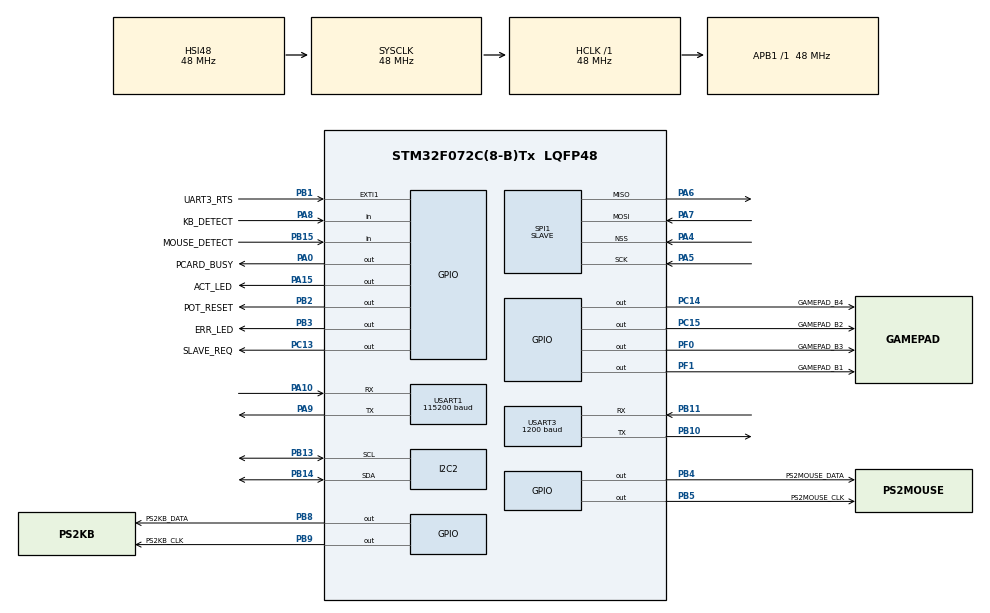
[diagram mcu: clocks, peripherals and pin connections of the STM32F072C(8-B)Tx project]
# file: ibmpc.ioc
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I2C2.Timing=0x20303E5D
IWDG.Prescaler=IWDG_PRESCALER_32
Mcu.Family=STM32F0
Mcu.Name=STM32F072C(8-B)Tx
Mcu.Package=LQFP48
NVIC.EXTI0_1_IRQn=true\:2\:0\:true\:false\:true\:true\:true
NVIC.SPI1_IRQn=true\:0\:0\:false\:false\:true\:true\:true
NVIC.USART3_4_IRQn=true\:1\:0\:true\:false\:true\:true\:true
PA0.GPIO_Label=PCARD_BUSY
PA0.Signal=GPIO_Output
PA10.Mode=Asynchronous
PA10.Signal=USART1_RX
PA13.Mode=Serial_Wire
PA13.Signal=SYS_SWDIO
PA14.Mode=Serial_Wire
PA14.Signal=SYS_SWCLK
PA15.GPIO_Label=ACT_LED
PA15.Signal=GPIO_Output
PA4.Mode=NSS_Signal_Hard_Input
PA4.Signal=SPI1_NSS
PA5.Mode=Full_Duplex_Slave
PA5.Signal=SPI1_SCK
PA6.Mode=Full_Duplex_Slave
PA6.Signal=SPI1_MISO
PA7.Mode=Full_Duplex_Slave
PA7.Signal=SPI1_MOSI
PA8.GPIO_Label=KB_DETECT
PA8.GPIO_PuPd=GPIO_PULLDOWN
PA8.Signal=GPIO_Input
PA9.Mode=Asynchronous
PA9.Signal=USART1_TX
PB1.GPIO_Label=UART3_RTS
PB1.GPIO_ModeDefaultEXTI=GPIO_MODE_IT_FALLING
PB1.Signal=GPXTI1
PB10.Mode=Asynchronous
PB10.Signal=USART3_TX
PB11.Mode=Asynchronous
PB11.Signal=USART3_RX
PB13.GPIO_PuPdOD=GPIO_NOPULL
PB13.Mode=I2C
PB13.Signal=I2C2_SCL
PB14.GPIO_PuPdOD=GPIO_NOPULL
PB14.Mode=I2C
PB14.Signal=I2C2_SDA
PB15.GPIO_Label=MOUSE_DETECT
PB15.GPIO_PuPd=GPIO_PULLDOWN
PB15.Signal=GPIO_Input
PB2.GPIO_Label=POT_RESET
PB2.GPIO_ModeDefaultOutputPP=GPIO_MODE_OUTPUT_OD
PB2.PinState=GPIO_PIN_SET
PB2.Signal=GPIO_Output
PB3.GPIO_Label=ERR_LED
PB3.Signal=GPIO_Output
PB4.GPIO_Label=PS2MOUSE_DATA
PB4.GPIO_ModeDefaultOutputPP=GPIO_MODE_OUTPUT_OD
PB4.PinState=GPIO_PIN_SET
PB4.Signal=GPIO_Output
PB5.GPIO_Label=PS2MOUSE_CLK
PB5.GPIO_ModeDefaultOutputPP=GPIO_MODE_OUTPUT_OD
PB5.PinState=GPIO_PIN_SET
PB5.Signal=GPIO_Output
PB8.GPIO_Label=PS2KB_DATA
PB8.GPIO_ModeDefaultOutputPP=GPIO_MODE_OUTPUT_OD
PB8.PinState=GPIO_PIN_SET
PB8.Signal=GPIO_Output
PB9.GPIO_Label=PS2KB_CLK
PB9.GPIO_ModeDefaultOutputPP=GPIO_MODE_OUTPUT_OD
PB9.PinState=GPIO_PIN_SET
PB9.Signal=GPIO_Output
PC13.GPIO_Label=SLAVE_REQ
PC13.PinState=GPIO_PIN_RESET
PC13.Signal=GPIO_Output
PC14-OSC32_IN.GPIO_Label=GAMEPAD_B4
PC14-OSC32_IN.GPIO_ModeDefaultOutputPP=GPIO_MODE_OUTPUT_OD
PC14-OSC32_IN.PinState=GPIO_PIN_SET
PC14-OSC32_IN.Signal=GPIO_Output
PC15-OSC32_OUT.GPIO_Label=GAMEPAD_B2
PC15-OSC32_OUT.GPIO_ModeDefaultOutputPP=GPIO_MODE_OUTPUT_OD
PC15-OSC32_OUT.PinState=GPIO_PIN_SET
PC15-OSC32_OUT.Signal=GPIO_Output
PF0-OSC_IN.GPIO_Label=GAMEPAD_B3
PF0-OSC_IN.GPIO_ModeDefaultOutputPP=GPIO_MODE_OUTPUT_OD
PF0-OSC_IN.PinState=GPIO_PIN_SET
PF0-OSC_IN.Signal=GPIO_Output
PF1-OSC_OUT.GPIO_Label=GAMEPAD_B1
PF1-OSC_OUT.GPIO_ModeDefaultOutputPP=GPIO_MODE_OUTPUT_OD
PF1-OSC_OUT.PinState=GPIO_PIN_SET
PF1-OSC_OUT.Signal=GPIO_Output
ProjectManager.HeapSize=0x200
ProjectManager.StackSize=0x400
ProjectManager.TargetToolchain=MDK-ARM V5
RCC.AHBFreq_Value=48000000
RCC.APB1Freq_Value=48000000
RCC.APB1TimFreq_Value=48000000
RCC.HCLKFreq_Value=48000000
RCC.I2c1ClockSelection=RCC_I2C1CLKSOURCE_SYSCLK
RCC.SYSCLKFreq_VALUE=48000000
RCC.SYSCLKSource=RCC_SYSCLKSOURCE_HSI48
RCC.Usart1ClockSelection=RCC_USART1CLKSOURCE_SYSCLK
SPI1.DataSize=SPI_DATASIZE_8BIT
SPI1.Direction=SPI_DIRECTION_2LINES
SPI1.Mode=SPI_MODE_SLAVE
SPI1.VirtualNSS=VM_NSSHARD
SPI1.VirtualType=VM_SLAVE
TIM2.Period=4294967295
TIM2.Prescaler=47
USART1.BaudRate=115200
USART1.VirtualMode-Asynchronous=VM_ASYNC
USART3.BaudRate=1200
USART3.DMADisableonRxErrorParam=UART_ADVFEATURE_DMA_DISABLEONRXERROR
USART3.OverrunDisableParam=UART_ADVFEATURE_OVERRUN_DISABLE
USART3.VirtualMode-Asynchronous=VM_ASYNC
USART3.WordLength=WORDLENGTH_7B
VP_IWDG_VS_IWDG.Mode=IWDG_Activate
VP_TIM2_VS_ClockSourceINT.Mode=Internal
board=custom

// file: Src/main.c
/**
  ******************************************************************************
  * @file           : main.c
  * @brief          : Main program body
  ******************************************************************************
  ** This notice applies to any and all portions of this file
  * that are not between comment pairs USER CODE BEGIN and
  * USER CODE END. Other portions of this file, whether
  * inserted by the user or by software development tools
  * are owned by their respective copyright owners.
  *
  * COPYRIGHT(c) 2023 STMicroelectronics
  *
  * Redistribution and use in source and binary forms, with or without modification,
  * are permitted provided that the following conditions are met:
  *   1. Redistributions of source code must retain the above copyright notice,
  *      this list of conditions and the following disclaimer.
  *   2. Redistributions in binary form must reproduce the above copyright notice,
  *      this list of conditions and the following disclaimer in the documentation
  *      and/or other materials provided with the distribution.
  *   3. Neither the name of STMicroelectronics nor the names of its contributors
  *      may be used to endorse or promote products derived from this software
  *      without specific prior written permission.
  *
  * THIS SOFTWARE IS PROVIDED BY THE COPYRIGHT HOLDERS AND CONTRIBUTORS "AS IS"
  * AND ANY EXPRESS OR IMPLIED WARRANTIES, INCLUDING, BUT NOT LIMITED TO, THE
  * IMPLIED WARRANTIES OF MERCHANTABILITY AND FITNESS FOR A PARTICULAR PURPOSE ARE
  * DISCLAIMED. IN NO EVENT SHALL THE COPYRIGHT HOLDER OR CONTRIBUTORS BE LIABLE
  * FOR ANY DIRECT, INDIRECT, INCIDENTAL, SPECIAL, EXEMPLARY, OR CONSEQUENTIAL
  * DAMAGES (INCLUDING, BUT NOT LIMITED TO, PROCUREMENT OF SUBSTITUTE GOODS OR
  * SERVICES; LOSS OF USE, DATA, OR PROFITS; OR BUSINESS INTERRUPTION) HOWEVER
  * CAUSED AND ON ANY THEORY OF LIABILITY, WHETHER IN CONTRACT, STRICT LIABILITY,
  * OR TORT (INCLUDING NEGLIGENCE OR OTHERWISE) ARISING IN ANY WAY OUT OF THE USE
  * OF THIS SOFTWARE, EVEN IF ADVISED OF THE POSSIBILITY OF SUCH DAMAGE.
  *
  ******************************************************************************
  */
#include "main.h"
#include "stm32f0xx_hal.h"

/* USER CODE BEGIN Includes */
#include "delay_us.h"
#include "shared.h"
#include "helpers.h"
#include "ps2kb.h"
#include <string.h>
#include "ps2mouse.h"
#include "mcp4451.h"
#include "xt_kb.h"

/* USER CODE END Includes */

I2C_HandleTypeDef hi2c2;

IWDG_HandleTypeDef hiwdg;

SPI_HandleTypeDef hspi1;

TIM_HandleTypeDef htim2;

UART_HandleTypeDef huart1;
UART_HandleTypeDef huart3;

/* USER CODE BEGIN PV */
/* Private variables ---------------------------------------------------------*/

/*
0.5.6
2023 04 30
Capped PS/2 mouse rate at 200Hz

0.5.7
2023 05 01
fixed a baud rate bug

*/
const uint8_t board_id = 1;
const uint8_t version_major = 0;
const uint8_t version_minor = 5;
const uint8_t version_patch = 7;
uint8_t hw_revision;

uint8_t spi_transmit_buf[SPI_BUF_SIZE];
uint8_t backup_spi1_recv_buf[SPI_BUF_SIZE];
uint8_t spi_recv_buf[SPI_BUF_SIZE];
kb_buf my_kb_buf;
mouse_buf my_mouse_buf;
gamepad_buf my_gamepad_buf;
uint16_t flash_size;

uint8_t ps2kb_host_cmd, ps2mouse_host_cmd, buffered_code, buffered_value, ps2mouse_bus_status, ps2kb_bus_status;
mouse_event latest_mouse_event;
mouse_event consolidated_mouse_event;
gamepad_event latest_gamepad_event;
ps2_outgoing_buf my_ps2_outbuf;
#define MICROSOFT_SERIAL_MOUSE_BUF_SIZE 3
uint8_t microsoft_serial_mouse_output_buf[MICROSOFT_SERIAL_MOUSE_BUF_SIZE];
#define MOUSESYSTEMS_SERIAL_MOUSE_BUF_SIZE 5
uint8_t mousesystems_serial_mouse_output_buf[MOUSESYSTEMS_SERIAL_MOUSE_BUF_SIZE];

uint8_t serial_mouse_rts_response;
volatile uint8_t rts_active;
uint8_t spi_error_occured;

#define PROTOCOL_STATUS_NOT_AVAILABLE 0
#define PROTOCOL_STATUS_ENABLED 1
#define PROTOCOL_STATUS_DISABLED 2

#define PROTOCOL_LOOKUP_SIZE 16
uint8_t protocol_status_lookup[PROTOCOL_LOOKUP_SIZE];

#define IS_KB_PRESENT() HAL_GPIO_ReadPin(KB_DETECT_GPIO_Port, KB_DETECT_Pin)
#define IS_PS2MOUSE_PRESENT() HAL_GPIO_ReadPin(MOUSE_DETECT_GPIO_Port, MOUSE_DETECT_Pin)

/* USER CODE END PV */

void SystemClock_Config(void);
static void MX_GPIO_Init(void);
static void MX_I2C2_Init(void);
static void MX_SPI1_Init(void);
static void MX_TIM2_Init(void);
static void MX_USART1_UART_Init(void);
static void MX_USART3_UART_Init(void);
static void MX_IWDG_Init(void);

/* USER CODE BEGIN PFP */
/* Private function prototypes -----------------------------------------------*/

/* USER CODE END PFP */

/* USER CODE BEGIN 0 */

void mouse_uart_switch_to_8bit(void)
{
  huart3.Init.WordLength = UART_WORDLENGTH_8B;
  HAL_UART_Init(&huart3);
}

void mouse_uart_switch_to_7bit(void)
{
  huart3.Init.WordLength = UART_WORDLENGTH_7B;
  HAL_UART_Init(&huart3);
}

int fputc(int ch, FILE *f)
{
  HAL_UART_Transmit(&huart1, (unsigned char *)&ch, 1, 100);
  return ch;
}

int16_t byte_to_int16_t(uint8_t lsb, uint8_t msb)
{
  return (int16_t)((msb << 8) | lsb);
}

uint8_t is_protocol_enabled(uint8_t this_protocol)
{
  if(this_protocol >= PROTOCOL_LOOKUP_SIZE)
    return 0;
  return protocol_status_lookup[this_protocol] == PROTOCOL_STATUS_ENABLED;
}

void gameport_init()
{
  // release all buttons, reset digital pot
  HAL_GPIO_WritePin(GAMEPAD_B1_GPIO_Port, GAMEPAD_B1_Pin, GPIO_PIN_SET);
  HAL_GPIO_WritePin(GAMEPAD_B2_GPIO_Port, GAMEPAD_B2_Pin, GPIO_PIN_SET);
  HAL_GPIO_WritePin(GAMEPAD_B3_GPIO_Port, GAMEPAD_B3_Pin, GPIO_PIN_SET);
  HAL_GPIO_WritePin(GAMEPAD_B4_GPIO_Port, GAMEPAD_B4_Pin, GPIO_PIN_SET);
  mcp4451_reset();
}

void handle_protocol_switch(uint8_t spi_byte)
{
  uint8_t index = spi_byte & 0x7f;
  uint8_t onoff = spi_byte & 0x80;

  if(index >= PROTOCOL_LOOKUP_SIZE)
    return;
  // trying to change a protocol that is not available on this board
  if(protocol_status_lookup[index] == PROTOCOL_STATUS_NOT_AVAILABLE)
    return;
  // switching protocol ON
  if(onoff && protocol_status_lookup[index] == PROTOCOL_STATUS_DISABLED)
  {
    switch(index)
    {
      case PROTOCOL_AT_PS2_KB:
        ps2kb_init(PS2KB_CLK_GPIO_Port, PS2KB_CLK_Pin, PS2KB_DATA_GPIO_Port, PS2KB_DATA_Pin);
        break;

      case PROTOCOL_XT_KB:
        xtkb_enable();
        break;

      case PROTOCOL_PS2_MOUSE:
        ps2mouse_init(PS2MOUSE_CLK_GPIO_Port, PS2MOUSE_CLK_Pin, PS2MOUSE_DATA_GPIO_Port, PS2MOUSE_DATA_Pin);
        break;

      case PROTOCOL_MICROSOFT_SERIAL_MOUSE:
        mouse_uart_switch_to_7bit();
        break;

      case PROTOCOL_MOUSESYSTEMS_SERIAL_MOUSE:
        mouse_uart_switch_to_8bit();
        break;

      case PROTOCOL_GENERIC_GAMEPORT_GAMEPAD:
        gameport_init();
        break;
    }
    protocol_status_lookup[index] = PROTOCOL_STATUS_ENABLED;
  }
  // switching protocol OFF
  else if((onoff == 0) && protocol_status_lookup[index] == PROTOCOL_STATUS_ENABLED)
  {
    protocol_status_lookup[index] = PROTOCOL_STATUS_DISABLED;
    switch(index)
    {
      case PROTOCOL_AT_PS2_KB:
        ps2kb_release_lines();
        ps2kb_reset();
        break;

      case PROTOCOL_XT_KB:
        xtkb_release_lines();
        break;

      case PROTOCOL_PS2_MOUSE:
        ps2mouse_reset();
        ps2mouse_release_lines();
        break;

      case PROTOCOL_MICROSOFT_SERIAL_MOUSE:
        break;

      case PROTOCOL_MOUSESYSTEMS_SERIAL_MOUSE:
        break;

      case PROTOCOL_GENERIC_GAMEPORT_GAMEPAD:
        gameport_init();
        break;
    }
  }
}

/*
  This is called when a new SPI packet is received
  This is part of an ISR, so keep it short!
*/
uint32_t ACT_LED_off_ts;
void HAL_SPI_TxRxCpltCallback(SPI_HandleTypeDef *hspi)
{
  HAL_GPIO_WritePin(ACT_LED_GPIO_Port, ACT_LED_Pin, GPIO_PIN_SET);
  memcpy(backup_spi1_recv_buf, spi_recv_buf, SPI_BUF_SIZE);

  if(backup_spi1_recv_buf[0] != 0xde)
  {
    spi_error_occured = 1;
  }
  else if(backup_spi1_recv_buf[SPI_BUF_INDEX_MSG_TYPE] == SPI_MOSI_MSG_TYPE_KEYBOARD_EVENT)
  {
    kb_buf_add(&my_kb_buf, backup_spi1_recv_buf[4], backup_spi1_recv_buf[6]);
  }
  else if(backup_spi1_recv_buf[SPI_BUF_INDEX_MSG_TYPE] == SPI_MOSI_MSG_TYPE_MOUSE_EVENT)
  {
    latest_mouse_event.movement_x = byte_to_int16_t(backup_spi1_recv_buf[4], backup_spi1_recv_buf[5]);
    latest_mouse_event.movement_y = -1 * byte_to_int16_t(backup_spi1_recv_buf[6], backup_spi1_recv_buf[7]);
    latest_mouse_event.scroll_vertical = -1 * backup_spi1_recv_buf[8];
    latest_mouse_event.scroll_horizontal = backup_spi1_recv_buf[9];
    latest_mouse_event.button_left = backup_spi1_recv_buf[13];
    latest_mouse_event.button_right = backup_spi1_recv_buf[14];
    latest_mouse_event.button_middle = backup_spi1_recv_buf[15];
    latest_mouse_event.button_side = backup_spi1_recv_buf[16];
    latest_mouse_event.button_extra = backup_spi1_recv_buf[17];
    mouse_buf_add(&my_mouse_buf, &latest_mouse_event);
  }
  else if(backup_spi1_recv_buf[SPI_BUF_INDEX_MSG_TYPE] == SPI_MOSI_MSG_TYPE_GAMEPAD_EVENT_MAPPED_IBMPC)
  {
    latest_gamepad_event.button_1 = backup_spi1_recv_buf[4];
    latest_gamepad_event.button_2 = backup_spi1_recv_buf[5];
    latest_gamepad_event.button_3 = backup_spi1_recv_buf[6];
    latest_gamepad_event.button_4 = backup_spi1_recv_buf[7];
    latest_gamepad_event.button_lt = 0;
    latest_gamepad_event.button_rt = 0;
    latest_gamepad_event.button_lt2 = 0;
    latest_gamepad_event.button_rt2 = 0;
    latest_gamepad_event.axis_x = backup_spi1_recv_buf[8];
    latest_gamepad_event.axis_y = backup_spi1_recv_buf[9];
    latest_gamepad_event.axis_rx = backup_spi1_recv_buf[10];
    latest_gamepad_event.axis_ry = backup_spi1_recv_buf[11];
    gamepad_buf_add(&my_gamepad_buf, &latest_gamepad_event);
  }
  else if(backup_spi1_recv_buf[SPI_BUF_INDEX_MSG_TYPE] == SPI_MOSI_MSG_TYPE_REQ_ACK)
  {
    HAL_GPIO_WritePin(SLAVE_REQ_GPIO_Port, SLAVE_REQ_Pin, GPIO_PIN_RESET);
  }
  else if(backup_spi1_recv_buf[SPI_BUF_INDEX_MSG_TYPE] == SPI_MOSI_MSG_TYPE_INFO_REQUEST)
  {
    memset(spi_transmit_buf, 0, SPI_BUF_SIZE);
    spi_transmit_buf[SPI_BUF_INDEX_MAGIC] = SPI_MISO_MAGIC;
    spi_transmit_buf[SPI_BUF_INDEX_SEQNUM] = backup_spi1_recv_buf[SPI_BUF_INDEX_SEQNUM];
    spi_transmit_buf[SPI_BUF_INDEX_MSG_TYPE] = SPI_MISO_MSG_TYPE_INFO_REQUEST;
    spi_transmit_buf[3] = board_id;
    spi_transmit_buf[4] = hw_revision;
    spi_transmit_buf[5] = version_major;
    spi_transmit_buf[6] = version_minor;
    spi_transmit_buf[7] = version_patch;
    uint8_t curr_index = 8;
    for (int i = 0; i < PROTOCOL_LOOKUP_SIZE; i++)
    {
      if(protocol_status_lookup[i] == PROTOCOL_STATUS_NOT_AVAILABLE)
        continue;
      else if(protocol_status_lookup[i] == PROTOCOL_STATUS_DISABLED)
        spi_transmit_buf[curr_index] = i;
      else if(protocol_status_lookup[i] == PROTOCOL_STATUS_ENABLED)
        spi_transmit_buf[curr_index] = i | 0x80;
      curr_index++;
    }
  }
  else if(backup_spi1_recv_buf[SPI_BUF_INDEX_MSG_TYPE] == SPI_MOSI_MSG_TYPE_SET_PROTOCOL)
  {
    for (int i = 3; i < SPI_BUF_SIZE; ++i)
    {
      if(backup_spi1_recv_buf[i] == 0)
        break;
      handle_protocol_switch(backup_spi1_recv_buf[i]);
    }
  }
  HAL_SPI_TransmitReceive_IT(&hspi1, spi_transmit_buf, spi_recv_buf, SPI_BUF_SIZE);
  ACT_LED_off_ts = micros() + 10000;
}

void cap_to_127(int32_t *number)
{
  if(*number > 127)
    *number = 127;
  if(*number < -127)
    *number = -127;
}

void get_consolidated_mouse_event(mouse_buf* mbuf, mouse_event* cme_result)
{
  cme_result->movement_x = 0;
  cme_result->movement_y = 0;
  cme_result->scroll_vertical = 0;
  cme_result->scroll_horizontal = 0;
  cme_result->button_left = 0;
  cme_result->button_right = 0;
  cme_result->button_middle = 0;
  cme_result->button_side = 0;
  cme_result->button_extra = 0;
  while(1)
  {
    mouse_event* this_mouse_event = mouse_buf_peek(mbuf);
    if(this_mouse_event == NULL)
      break;
    cme_result->movement_x += this_mouse_event->movement_x;
    cme_result->movement_y += this_mouse_event->movement_y;
    cme_result->scroll_vertical += this_mouse_event->scroll_vertical;
    cme_result->scroll_horizontal += this_mouse_event->scroll_horizontal;
    cme_result->button_left |= this_mouse_event->button_left;
    cme_result->button_right |= this_mouse_event->button_right;
    cme_result->button_middle |= this_mouse_event->button_middle;
    cme_result->button_side |= this_mouse_event->button_side;
    cme_result->button_extra |= this_mouse_event->button_extra;
    mouse_buf_pop(mbuf);
  }
  cap_to_127(&cme_result->movement_x);
  cap_to_127(&cme_result->movement_y);
}

uint32_t last_mouse_movement;
void ps2mouse_update(void)
{
  ps2mouse_bus_status = ps2mouse_get_bus_status();
  if(ps2mouse_bus_status == PS2_BUS_INHIBIT)
  {
    ps2mouse_release_lines();
    return;
  }
  else if(ps2mouse_bus_status == PS2_BUS_REQ_TO_SEND)
  {
    PCARD_BUSY_HI();
    ps2mouse_read(&ps2mouse_host_cmd, 10);
    ps2mouse_host_req_reply(ps2mouse_host_cmd, &latest_mouse_event);
    PCARD_BUSY_LOW();
    return;
  }

  // 5ms, PS/2 tops out at 200Hz
  if(micros() - last_mouse_movement <= 5000)
    return;

  if(mouse_buf_peek(&my_mouse_buf) == NULL)
    return;

  get_consolidated_mouse_event(&my_mouse_buf, &consolidated_mouse_event);
  // mouse buffer now empty

  if(ps2mouse_get_outgoing_data(&consolidated_mouse_event, &my_ps2_outbuf))
    return; // if return value is not 0, no need to send out packets

  PCARD_BUSY_HI();
  if(ps2mouse_send_update(&my_ps2_outbuf) != PS2_OK)
  {
    uint32_t enter_time = HAL_GetTick();
    while(ps2mouse_get_bus_status() != PS2_BUS_IDLE)
    {
      if(HAL_GetTick() - enter_time > PS2MOUSE_WRITE_DEFAULT_TIMEOUT_MS)
        break;
    }
  }
  last_mouse_movement = micros();
  PCARD_BUSY_LOW();
}

uint8_t ps2kb_update(void)
{
  ps2kb_bus_status = ps2kb_get_bus_status();
  if(ps2kb_bus_status == PS2_BUS_INHIBIT)
  {
    ps2kb_release_lines();
    return 0;
  }
  if(ps2kb_bus_status == PS2_BUS_REQ_TO_SEND)
  {
    PCARD_BUSY_HI();
    uint8_t ps2kb_leds = 0xff;
    ps2kb_read(&ps2kb_host_cmd, 10);
    keyboard_reply(ps2kb_host_cmd, &ps2kb_leds);
    if(ps2kb_leds != 0xff)
    {
      memset(spi_transmit_buf, 0, SPI_BUF_SIZE);
      spi_transmit_buf[SPI_BUF_INDEX_MAGIC] = SPI_MISO_MAGIC;
      spi_transmit_buf[SPI_BUF_INDEX_SEQNUM] = backup_spi1_recv_buf[SPI_BUF_INDEX_SEQNUM];
      spi_transmit_buf[SPI_BUF_INDEX_MSG_TYPE] = SPI_MISO_MSG_TYPE_KB_LED_REQUEST;
      if(ps2kb_leds & 0x1) // scroll lock LED
        spi_transmit_buf[3] = 1;
      if(ps2kb_leds & 0x2)  // num lock LED
        spi_transmit_buf[4] = 1;
      if(ps2kb_leds & 0x4)  // caps lock LED
        spi_transmit_buf[5] = 1;
      HAL_GPIO_WritePin(SLAVE_REQ_GPIO_Port, SLAVE_REQ_Pin, GPIO_PIN_SET);
    }
  }
  else if(ps2kb_bus_status == PS2_BUS_IDLE && (kb_buf_peek(&my_kb_buf, &buffered_code, &buffered_value) == 0))
  {
    PCARD_BUSY_HI();
    if(ps2kb_press_key(buffered_code, buffered_value) == PS2_ERROR_HOST_INHIBIT) // host inhibited line during transmission
      HAL_Delay(1);
    else
      kb_buf_pop(&my_kb_buf);
  }
  return 1;
}

// GPIO external interrupt callback
void HAL_GPIO_EXTI_Callback(uint16_t GPIO_Pin)
{
  if(GPIO_Pin == UART3_RTS_Pin && is_protocol_enabled(PROTOCOL_MICROSOFT_SERIAL_MOUSE))
    rts_active = 1;
}

uint8_t serial_mouse_is_tx_in_progress;
void HAL_UART_TxCpltCallback(UART_HandleTypeDef *huart)
{
  serial_mouse_is_tx_in_progress = 0;
}

// https://everything2.com/title/Mouse+protocol
void microsoft_serial_mouse_update(void)
{
  if(rts_active)
  {
    serial_mouse_rts_response = 0x4d; // 0x4d = 'M'
    HAL_UART_Transmit_IT(&huart3, &serial_mouse_rts_response, 1);
    serial_mouse_is_tx_in_progress = 1;
    rts_active = 0;
  }

  if(mouse_buf_peek(&my_mouse_buf) == NULL)
    return;

  if(serial_mouse_is_tx_in_progress)
    return;

  get_consolidated_mouse_event(&my_mouse_buf, &consolidated_mouse_event);
  // mouse buffer now empty

  memset(microsoft_serial_mouse_output_buf, 0, MICROSOFT_SERIAL_MOUSE_BUF_SIZE);
  microsoft_serial_mouse_output_buf[0] = 0xc0;
  if(consolidated_mouse_event.button_left)
    microsoft_serial_mouse_output_buf[0] |= 0x20;
  if(consolidated_mouse_event.button_right)
    microsoft_serial_mouse_output_buf[0] |= 0x10;

  int16_t serial_x = consolidated_mouse_event.movement_x;
  int16_t serial_y = -1* consolidated_mouse_event.movement_y;

  if(serial_y & 0x80)
    microsoft_serial_mouse_output_buf[0] |= 0x8;
  if(serial_y & 0x40)
    microsoft_serial_mouse_output_buf[0] |= 0x4;
  if(serial_x & 0x80)
    microsoft_serial_mouse_output_buf[0] |= 0x2;
  if(serial_x & 0x40)
    microsoft_serial_mouse_output_buf[0] |= 0x1;

  microsoft_serial_mouse_output_buf[1] = 0x3f & serial_x;
  microsoft_serial_mouse_output_buf[2] = 0x3f & serial_y;
  HAL_UART_Transmit_IT(&huart3, microsoft_serial_mouse_output_buf, MICROSOFT_SERIAL_MOUSE_BUF_SIZE);
  serial_mouse_is_tx_in_progress = 1;
}

void spi_error_dump_reboot(void)
{
  printf("SPI ERROR\n");
  for (int i = 0; i < SPI_BUF_SIZE; ++i)
    printf("%d ", backup_spi1_recv_buf[i]);
  printf("\nrebooting...\n");
  for (int i = 0; i < 100; ++i)
  {
    HAL_GPIO_TogglePin(ERR_LED_GPIO_Port, ERR_LED_Pin);
    HAL_Delay(100);
  }
  NVIC_SystemReset();
}

const char boot_message[] = "USB4VC Protocol Board\nIBM PC Compatible\ndekuNukem 2022";

void protocol_status_lookup_init(void)
{
  memset(protocol_status_lookup, PROTOCOL_STATUS_NOT_AVAILABLE, PROTOCOL_LOOKUP_SIZE);
  protocol_status_lookup[PROTOCOL_AT_PS2_KB] = PROTOCOL_STATUS_ENABLED;
  protocol_status_lookup[PROTOCOL_XT_KB] = PROTOCOL_STATUS_DISABLED;
  protocol_status_lookup[PROTOCOL_PS2_MOUSE] = PROTOCOL_STATUS_ENABLED;
  protocol_status_lookup[PROTOCOL_MICROSOFT_SERIAL_MOUSE] = PROTOCOL_STATUS_DISABLED;
  protocol_status_lookup[PROTOCOL_MOUSESYSTEMS_SERIAL_MOUSE] = PROTOCOL_STATUS_DISABLED;
  protocol_status_lookup[PROTOCOL_GENERIC_GAMEPORT_GAMEPAD] = PROTOCOL_STATUS_ENABLED;
}

void gamepad_update(void)
{
  gamepad_event* this_gamepad_event = gamepad_buf_peek(&my_gamepad_buf);
  if(this_gamepad_event != NULL)
  {
    // printf("%d %d %d %d %d %d %d %d\n---\n", this_gamepad_event->button_1, this_gamepad_event->button_2, this_gamepad_event->button_3, this_gamepad_event->button_4, this_gamepad_event->axis_x, this_gamepad_event->axis_y, this_gamepad_event->axis_rx, this_gamepad_event->axis_ry);
    /*
    X1 = Wiper 3
    Y1 = Wiper 0
    X2 = Wiper 2
    Y2 = Wiper 1
    */
    HAL_GPIO_WritePin(GAMEPAD_B1_GPIO_Port, GAMEPAD_B1_Pin, !(this_gamepad_event->button_1));
    HAL_GPIO_WritePin(GAMEPAD_B2_GPIO_Port, GAMEPAD_B2_Pin, !(this_gamepad_event->button_2));
    HAL_GPIO_WritePin(GAMEPAD_B3_GPIO_Port, GAMEPAD_B3_Pin, !(this_gamepad_event->button_3));
    HAL_GPIO_WritePin(GAMEPAD_B4_GPIO_Port, GAMEPAD_B4_Pin, !(this_gamepad_event->button_4));
    mcp4451_write_wiper(3, 255-this_gamepad_event->axis_x);
    mcp4451_write_wiper(0, 255-this_gamepad_event->axis_y);
    mcp4451_write_wiper(2, 255-this_gamepad_event->axis_rx);
    mcp4451_write_wiper(1, 255-this_gamepad_event->axis_ry);
    gamepad_buf_pop(&my_gamepad_buf);
  }
}

void xtkb_update(void)
{
  xtkb_check_for_softreset();
  if(kb_buf_peek(&my_kb_buf, &buffered_code, &buffered_value) == 0)
  {
    if(xtkb_press_key(buffered_code, buffered_value) == XTKB_ERROR_HOST_INHIBIT)
      HAL_Delay(1);
    else
      kb_buf_pop(&my_kb_buf);
  }
}

/*
!!!!!!!!!!!!!!!!!!!!!! AFTER CODE RE-GENERATION
!!!!!!!!!!!!!!!!!!!!!! CHANGE THE FOLLOWING

huart3.Init.BaudRate = 1200;
if(flash_size != 64)
  huart3.Init.BaudRate = 2032;

huart1.Init.BaudRate = 115200;
if(flash_size != 64)
  huart1.Init.BaudRate = 195134;

huart3.Init.WordLength = UART_WORDLENGTH_7B;

!!!!!!!!!!!!!!!!!!!!!!
*/

void mousesystems_serial_mouse_update(void)
{
  if(mouse_buf_peek(&my_mouse_buf) == NULL)
    return;

  if(serial_mouse_is_tx_in_progress)
    return;

  get_consolidated_mouse_event(&my_mouse_buf, &consolidated_mouse_event);
  // mouse buffer now empty

  memset(mousesystems_serial_mouse_output_buf, 0, MOUSESYSTEMS_SERIAL_MOUSE_BUF_SIZE);
  mousesystems_serial_mouse_output_buf[0] = 0x87;
  if(consolidated_mouse_event.button_left)
    mousesystems_serial_mouse_output_buf[0] &= 0xfb;
  if(consolidated_mouse_event.button_middle)
    mousesystems_serial_mouse_output_buf[0] &= 0xfd;
  if(consolidated_mouse_event.button_right)
    mousesystems_serial_mouse_output_buf[0] &= 0xfe;
  mousesystems_serial_mouse_output_buf[1] = (int8_t)(consolidated_mouse_event.movement_x);
  mousesystems_serial_mouse_output_buf[2] = (int8_t)(consolidated_mouse_event.movement_y);
  mousesystems_serial_mouse_output_buf[3] = 0;
  mousesystems_serial_mouse_output_buf[4] = 0;
  mouse_buf_pop(&my_mouse_buf);
  HAL_UART_Transmit_IT(&huart3, mousesystems_serial_mouse_output_buf, MOUSESYSTEMS_SERIAL_MOUSE_BUF_SIZE);
  serial_mouse_is_tx_in_progress = 1;
}

/* USER CODE END 0 */

int main(void)
{
  /* USER CODE BEGIN 1 */
  flash_size = *(uint16_t*)0x1FFFF7CC;
  /* USER CODE END 1 */

  /* MCU Configuration----------------------------------------------------------*/

  /* Reset of all peripherals, Initializes the Flash interface and the Systick. */
  HAL_Init();

  /* Configure the system clock */
  SystemClock_Config();

  /* Initialize all configured peripherals */
  MX_GPIO_Init();
  MX_I2C2_Init();
  MX_SPI1_Init();
  MX_TIM2_Init();
  MX_USART1_UART_Init();
  MX_USART3_UART_Init();
  MX_IWDG_Init();
  /* USER CODE BEGIN 2 */
  HAL_IWDG_Refresh(&hiwdg);
  printf("%s\nrev%d v%d.%d.%d\n", boot_message, hw_revision, version_major, version_minor, version_patch);
  delay_us_init(&htim2);
  protocol_status_lookup_init();

  ps2kb_init(PS2KB_CLK_GPIO_Port, PS2KB_CLK_Pin, PS2KB_DATA_GPIO_Port, PS2KB_DATA_Pin);
  xtkb_init(PS2KB_CLK_GPIO_Port, PS2KB_CLK_Pin, PS2KB_DATA_GPIO_Port, PS2KB_DATA_Pin);
  ps2mouse_init(PS2MOUSE_CLK_GPIO_Port, PS2MOUSE_CLK_Pin, PS2MOUSE_DATA_GPIO_Port, PS2MOUSE_DATA_Pin);

  if(is_protocol_enabled(PROTOCOL_XT_KB))
    xtkb_enable();

  kb_buf_init(&my_kb_buf);
  mouse_buf_init(&my_mouse_buf);
  gamepad_buf_init(&my_gamepad_buf);

  mcp4451_reset();

  memset(spi_transmit_buf, 0, SPI_BUF_SIZE);
  HAL_SPI_TransmitReceive_IT(&hspi1, spi_transmit_buf, spi_recv_buf, SPI_BUF_SIZE);
  /* USER CODE END 2 */

  /* Infinite loop */
  /* USER CODE BEGIN WHILE */
  printf("flash_size: %d\n", flash_size);

  if(!mcp4451_is_available())
  {
    printf("Digital pot not responding!\n");
    for (int i = 0; i < 10; ++i)
    {
      HAL_GPIO_TogglePin(ERR_LED_GPIO_Port, ERR_LED_Pin);
      HAL_Delay(50);
    }
    HAL_GPIO_WritePin(ERR_LED_GPIO_Port, ERR_LED_Pin, GPIO_PIN_SET);
  }

  while (1)
  {
    HAL_IWDG_Refresh(&hiwdg);
    if(micros() > ACT_LED_off_ts)
      HAL_GPIO_WritePin(ACT_LED_GPIO_Port, ACT_LED_Pin, GPIO_PIN_RESET);
  /* USER CODE END WHILE */

  /* USER CODE BEGIN 3 */

    // If more than one enabled, PS2 mouse takes priority
    if(is_protocol_enabled(PROTOCOL_PS2_MOUSE) && IS_PS2MOUSE_PRESENT())
      ps2mouse_update();
    else if(is_protocol_enabled(PROTOCOL_MICROSOFT_SERIAL_MOUSE))
      microsoft_serial_mouse_update();
    else if(is_protocol_enabled(PROTOCOL_MOUSESYSTEMS_SERIAL_MOUSE))
      mousesystems_serial_mouse_update();
    // If both enabled, PS2 keyboard takes priority
    if(is_protocol_enabled(PROTOCOL_AT_PS2_KB) && IS_KB_PRESENT())
    {
      if(ps2kb_update())
        PCARD_BUSY_LOW();
    }
    else if(is_protocol_enabled(PROTOCOL_XT_KB) && IS_KB_PRESENT())
      xtkb_update();

    if(is_protocol_enabled(PROTOCOL_GENERIC_GAMEPORT_GAMEPAD))
      gamepad_update();

    if(spi_error_occured)
      spi_error_dump_reboot();
  }
  /* USER CODE END 3 */

}

void SystemClock_Config(void)
{

  RCC_OscInitTypeDef RCC_OscInitStruct;
  RCC_ClkInitTypeDef RCC_ClkInitStruct;
  RCC_PeriphCLKInitTypeDef PeriphClkInit;

    /**Initializes the CPU, AHB and APB busses clocks
    */
  RCC_OscInitStruct.OscillatorType = RCC_OSCILLATORTYPE_HSI48|RCC_OSCILLATORTYPE_LSI;
  RCC_OscInitStruct.HSI48State = RCC_HSI48_ON;
  RCC_OscInitStruct.LSIState = RCC_LSI_ON;
  RCC_OscInitStruct.PLL.PLLState = RCC_PLL_NONE;
  if (HAL_RCC_OscConfig(&RCC_OscInitStruct) != HAL_OK)
  {
    _Error_Handler(__FILE__, __LINE__);
  }

    /**Initializes the CPU, AHB and APB busses clocks
    */
  RCC_ClkInitStruct.ClockType = RCC_CLOCKTYPE_HCLK|RCC_CLOCKTYPE_SYSCLK
                              |RCC_CLOCKTYPE_PCLK1;
  RCC_ClkInitStruct.SYSCLKSource = RCC_SYSCLKSOURCE_HSI48;
  RCC_ClkInitStruct.AHBCLKDivider = RCC_SYSCLK_DIV1;
  RCC_ClkInitStruct.APB1CLKDivider = RCC_HCLK_DIV1;

  if (HAL_RCC_ClockConfig(&RCC_ClkInitStruct, FLASH_LATENCY_1) != HAL_OK)
  {
    _Error_Handler(__FILE__, __LINE__);
  }

  PeriphClkInit.PeriphClockSelection = RCC_PERIPHCLK_USART1;
  PeriphClkInit.Usart1ClockSelection = RCC_USART1CLKSOURCE_SYSCLK;
  if (HAL_RCCEx_PeriphCLKConfig(&PeriphClkInit) != HAL_OK)
  {
    _Error_Handler(__FILE__, __LINE__);
  }

    /**Configure the Systick interrupt time
    */
  HAL_SYSTICK_Config(HAL_RCC_GetHCLKFreq()/1000);

    /**Configure the Systick
    */
  HAL_SYSTICK_CLKSourceConfig(SYSTICK_CLKSOURCE_HCLK);

  /* SysTick_IRQn interrupt configuration */
  HAL_NVIC_SetPriority(SysTick_IRQn, 0, 0);
}

/* I2C2 init function */
static void MX_I2C2_Init(void)
{

  hi2c2.Instance = I2C2;
  hi2c2.Init.Timing = 0x20303E5D;
  hi2c2.Init.OwnAddress1 = 0;
  hi2c2.Init.AddressingMode = I2C_ADDRESSINGMODE_7BIT;
  hi2c2.Init.DualAddressMode = I2C_DUALADDRESS_DISABLE;
  hi2c2.Init.OwnAddress2 = 0;
  hi2c2.Init.OwnAddress2Masks = I2C_OA2_NOMASK;
  hi2c2.Init.GeneralCallMode = I2C_GENERALCALL_DISABLE;
  hi2c2.Init.NoStretchMode = I2C_NOSTRETCH_DISABLE;
  if (HAL_I2C_Init(&hi2c2) != HAL_OK)
  {
    _Error_Handler(__FILE__, __LINE__);
  }

    /**Configure Analogue filter
    */
  if (HAL_I2CEx_ConfigAnalogFilter(&hi2c2, I2C_ANALOGFILTER_ENABLE) != HAL_OK)
  {
    _Error_Handler(__FILE__, __LINE__);
  }

    /**Configure Digital filter
    */
  if (HAL_I2CEx_ConfigDigitalFilter(&hi2c2, 0) != HAL_OK)
  {
    _Error_Handler(__FILE__, __LINE__);
  }

}

/* IWDG init function */
static void MX_IWDG_Init(void)
{

  hiwdg.Instance = IWDG;
  hiwdg.Init.Prescaler = IWDG_PRESCALER_32;
  hiwdg.Init.Window = 4095;
  hiwdg.Init.Reload = 4095;
  if (HAL_IWDG_Init(&hiwdg) != HAL_OK)
  {
    _Error_Handler(__FILE__, __LINE__);
  }

}

/* SPI1 init function */
static void MX_SPI1_Init(void)
{

  /* SPI1 parameter configuration*/
  hspi1.Instance = SPI1;
  hspi1.Init.Mode = SPI_MODE_SLAVE;
  hspi1.Init.Direction = SPI_DIRECTION_2LINES;
  hspi1.Init.DataSize = SPI_DATASIZE_8BIT;
  hspi1.Init.CLKPolarity = SPI_POLARITY_LOW;
  hspi1.Init.CLKPhase = SPI_PHASE_1EDGE;
  hspi1.Init.NSS = SPI_NSS_HARD_INPUT;
  hspi1.Init.FirstBit = SPI_FIRSTBIT_MSB;
  hspi1.Init.TIMode = SPI_TIMODE_DISABLE;
  hspi1.Init.CRCCalculation = SPI_CRCCALCULATION_DISABLE;
  hspi1.Init.CRCPolynomial = 7;
  hspi1.Init.CRCLength = SPI_CRC_LENGTH_DATASIZE;
  hspi1.Init.NSSPMode = SPI_NSS_PULSE_DISABLE;
  if (HAL_SPI_Init(&hspi1) != HAL_OK)
  {
    _Error_Handler(__FILE__, __LINE__);
  }

}

/* TIM2 init function */
static void MX_TIM2_Init(void)
{

  TIM_ClockConfigTypeDef sClockSourceConfig;
  TIM_MasterConfigTypeDef sMasterConfig;

  htim2.Instance = TIM2;
  htim2.Init.Prescaler = 47;
  htim2.Init.CounterMode = TIM_COUNTERMODE_UP;
  htim2.Init.Period = 4294967295;
  htim2.Init.ClockDivision = TIM_CLOCKDIVISION_DIV1;
  htim2.Init.AutoReloadPreload = TIM_AUTORELOAD_PRELOAD_DISABLE;
  if (HAL_TIM_Base_Init(&htim2) != HAL_OK)
  {
    _Error_Handler(__FILE__, __LINE__);
  }

  sClockSourceConfig.ClockSource = TIM_CLOCKSOURCE_INTERNAL;
  if (HAL_TIM_ConfigClockSource(&htim2, &sClockSourceConfig) != HAL_OK)
  {
    _Error_Handler(__FILE__, __LINE__);
  }

  sMasterConfig.MasterOutputTrigger = TIM_TRGO_RESET;
  sMasterConfig.MasterSlaveMode = TIM_MASTERSLAVEMODE_DISABLE;
  if (HAL_TIMEx_MasterConfigSynchronization(&htim2, &sMasterConfig) != HAL_OK)
  {
    _Error_Handler(__FILE__, __LINE__);
  }

}

/* USART1 init function */
static void MX_USART1_UART_Init(void)
{

  huart1.Instance = USART1;
  huart1.Init.BaudRate = 115200;
  if(flash_size != 64)
    huart1.Init.BaudRate = 195134;
  huart1.Init.WordLength = UART_WORDLENGTH_8B;
  huart1.Init.StopBits = UART_STOPBITS_1;
  huart1.Init.Parity = UART_PARITY_NONE;
  huart1.Init.Mode = UART_MODE_TX_RX;
  huart1.Init.HwFlowCtl = UART_HWCONTROL_NONE;
  huart1.Init.OverSampling = UART_OVERSAMPLING_16;
  huart1.Init.OneBitSampling = UART_ONE_BIT_SAMPLE_DISABLE;
  huart1.AdvancedInit.AdvFeatureInit = UART_ADVFEATURE_NO_INIT;
  if (HAL_UART_Init(&huart1) != HAL_OK)
  {
    _Error_Handler(__FILE__, __LINE__);
  }

}

/* USART3 init function */
static void MX_USART3_UART_Init(void)
{

  huart3.Instance = USART3;
  huart3.Init.BaudRate = 1200;
  if(flash_size != 64)
    huart3.Init.BaudRate = 2032;
  huart3.Init.StopBits = UART_STOPBITS_1;
  huart3.Init.Parity = UART_PARITY_NONE;
  huart3.Init.Mode = UART_MODE_TX_RX;
  huart3.Init.HwFlowCtl = UART_HWCONTROL_NONE;
  huart3.Init.OverSampling = UART_OVERSAMPLING_16;
  huart3.Init.OneBitSampling = UART_ONE_BIT_SAMPLE_DISABLE;
  huart3.AdvancedInit.AdvFeatureInit = UART_ADVFEATURE_RXOVERRUNDISABLE_INIT|UART_ADVFEATURE_DMADISABLEONERROR_INIT;
  huart3.AdvancedInit.OverrunDisable = UART_ADVFEATURE_OVERRUN_DISABLE;
  huart3.AdvancedInit.DMADisableonRxError = UART_ADVFEATURE_DMA_DISABLEONRXERROR;
  if (HAL_UART_Init(&huart3) != HAL_OK)
  {
    _Error_Handler(__FILE__, __LINE__);
  }

}

/** Configure pins as
        * Analog
        * Input
        * Output
        * EVENT_OUT
        * EXTI
*/
static void MX_GPIO_Init(void)
{

  GPIO_InitTypeDef GPIO_InitStruct;

  /* GPIO Ports Clock Enable */
  __HAL_RCC_GPIOC_CLK_ENABLE();
  __HAL_RCC_GPIOF_CLK_ENABLE();
  __HAL_RCC_GPIOA_CLK_ENABLE();
  __HAL_RCC_GPIOB_CLK_ENABLE();

  /*Configure GPIO pin Output Level */
  HAL_GPIO_WritePin(SLAVE_REQ_GPIO_Port, SLAVE_REQ_Pin, GPIO_PIN_RESET);

  /*Configure GPIO pin Output Level */
  HAL_GPIO_WritePin(GPIOC, GAMEPAD_B4_Pin|GAMEPAD_B2_Pin, GPIO_PIN_SET);

  /*Configure GPIO pin Output Level */
  HAL_GPIO_WritePin(GPIOF, GAMEPAD_B3_Pin|GAMEPAD_B1_Pin, GPIO_PIN_SET);

  /*Configure GPIO pin Output Level */
  HAL_GPIO_WritePin(GPIOA, PCARD_BUSY_Pin|ACT_LED_Pin, GPIO_PIN_RESET);

  /*Configure GPIO pin Output Level */
  HAL_GPIO_WritePin(GPIOB, POT_RESET_Pin|PS2MOUSE_DATA_Pin|PS2MOUSE_CLK_Pin|PS2KB_DATA_Pin
                          |PS2KB_CLK_Pin, GPIO_PIN_SET);

  /*Configure GPIO pin Output Level */
  HAL_GPIO_WritePin(ERR_LED_GPIO_Port, ERR_LED_Pin, GPIO_PIN_RESET);

  /*Configure GPIO pin : SLAVE_REQ_Pin */
  GPIO_InitStruct.Pin = SLAVE_REQ_Pin;
  GPIO_InitStruct.Mode = GPIO_MODE_OUTPUT_PP;
  GPIO_InitStruct.Pull = GPIO_NOPULL;
  GPIO_InitStruct.Speed = GPIO_SPEED_FREQ_LOW;
  HAL_GPIO_Init(SLAVE_REQ_GPIO_Port, &GPIO_InitStruct);

  /*Configure GPIO pins : GAMEPAD_B4_Pin GAMEPAD_B2_Pin */
  GPIO_InitStruct.Pin = GAMEPAD_B4_Pin|GAMEPAD_B2_Pin;
  GPIO_InitStruct.Mode = GPIO_MODE_OUTPUT_OD;
  GPIO_InitStruct.Pull = GPIO_NOPULL;
  GPIO_InitStruct.Speed = GPIO_SPEED_FREQ_LOW;
  HAL_GPIO_Init(GPIOC, &GPIO_InitStruct);

  /*Configure GPIO pins : GAMEPAD_B3_Pin GAMEPAD_B1_Pin */
  GPIO_InitStruct.Pin = GAMEPAD_B3_Pin|GAMEPAD_B1_Pin;
  GPIO_InitStruct.Mode = GPIO_MODE_OUTPUT_OD;
  GPIO_InitStruct.Pull = GPIO_NOPULL;
  GPIO_InitStruct.Speed = GPIO_SPEED_FREQ_LOW;
  HAL_GPIO_Init(GPIOF, &GPIO_InitStruct);

  /*Configure GPIO pins : PCARD_BUSY_Pin ACT_LED_Pin */
  GPIO_InitStruct.Pin = PCARD_BUSY_Pin|ACT_LED_Pin;
  GPIO_InitStruct.Mode = GPIO_MODE_OUTPUT_PP;
  GPIO_InitStruct.Pull = GPIO_NOPULL;
  GPIO_InitStruct.Speed = GPIO_SPEED_FREQ_LOW;
  HAL_GPIO_Init(GPIOA, &GPIO_InitStruct);

  /*Configure GPIO pin : UART3_RTS_Pin */
  GPIO_InitStruct.Pin = UART3_RTS_Pin;
  GPIO_InitStruct.Mode = GPIO_MODE_IT_FALLING;
  GPIO_InitStruct.Pull = GPIO_NOPULL;
  HAL_GPIO_Init(UART3_RTS_GPIO_Port, &GPIO_InitStruct);

  /*Configure GPIO pins : POT_RESET_Pin PS2MOUSE_DATA_Pin PS2MOUSE_CLK_Pin PS2KB_DATA_Pin
                           PS2KB_CLK_Pin */
  GPIO_InitStruct.Pin = POT_RESET_Pin|PS2MOUSE_DATA_Pin|PS2MOUSE_CLK_Pin|PS2KB_DATA_Pin
                          |PS2KB_CLK_Pin;
  GPIO_InitStruct.Mode = GPIO_MODE_OUTPUT_OD;
  GPIO_InitStruct.Pull = GPIO_NOPULL;
  GPIO_InitStruct.Speed = GPIO_SPEED_FREQ_LOW;
  HAL_GPIO_Init(GPIOB, &GPIO_InitStruct);

  /*Configure GPIO pin : MOUSE_DETECT_Pin */
  GPIO_InitStruct.Pin = MOUSE_DETECT_Pin;
  GPIO_InitStruct.Mode = GPIO_MODE_INPUT;
  GPIO_InitStruct.Pull = GPIO_PULLDOWN;
  HAL_GPIO_Init(MOUSE_DETECT_GPIO_Port, &GPIO_InitStruct);

  /*Configure GPIO pin : KB_DETECT_Pin */
  GPIO_InitStruct.Pin = KB_DETECT_Pin;
  GPIO_InitStruct.Mode = GPIO_MODE_INPUT;
  GPIO_InitStruct.Pull = GPIO_PULLDOWN;
  HAL_GPIO_Init(KB_DETECT_GPIO_Port, &GPIO_InitStruct);

  /*Configure GPIO pin : ERR_LED_Pin */
  GPIO_InitStruct.Pin = ERR_LED_Pin;
  GPIO_InitStruct.Mode = GPIO_MODE_OUTPUT_PP;
  GPIO_InitStruct.Pull = GPIO_NOPULL;
  GPIO_InitStruct.Speed = GPIO_SPEED_FREQ_LOW;
  HAL_GPIO_Init(ERR_LED_GPIO_Port, &GPIO_InitStruct);

  /* EXTI interrupt init*/
  HAL_NVIC_SetPriority(EXTI0_1_IRQn, 2, 0);
  HAL_NVIC_EnableIRQ(EXTI0_1_IRQn);

}

void _Error_Handler(char *file, int line)
{
  while(1)
  {
  }
}

/************************ (C) COPYRIGHT STMicroelectronics *****END OF FILE****/
